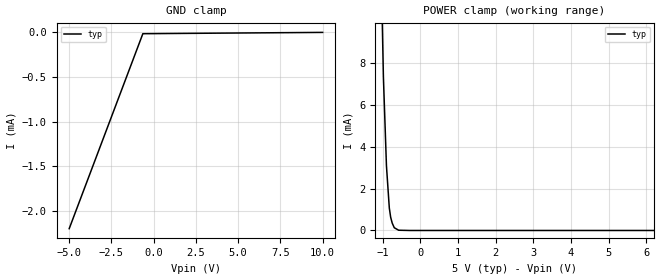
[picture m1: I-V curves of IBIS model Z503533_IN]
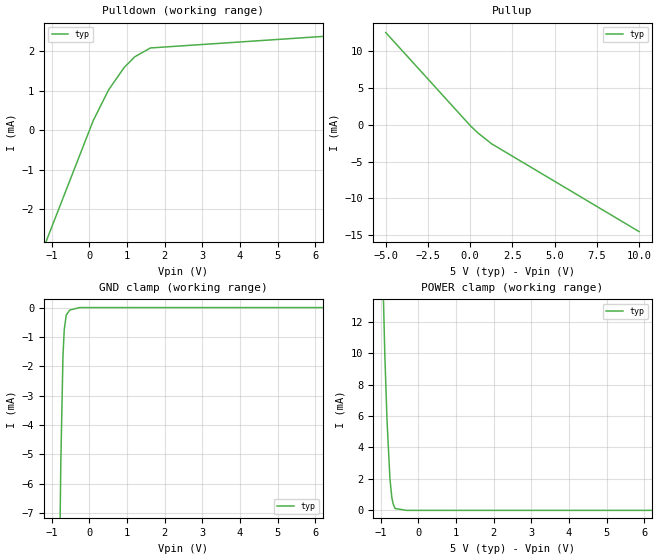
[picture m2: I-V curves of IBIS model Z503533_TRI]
| YOU ARE ONLY AUTHORIZED TO USE THIS SOFTWARE
| ACCORDING TO LICENSOR'S LICENSE RESTRICTIONS.
[IBIS Ver] 3.1
[File Name] mc14044bcl.ibs
[File Rev] 2.0
[Source] Measured and created by ICX Technology
[Date] Friday 7/14/00 9:07:52 AM
[Copyright]
| (C) COPYRIGHT 1993-2000
| MENTOR GRAPHICS CORPORATION
| ICX STANDARD LIBRARY, ICX PROJECT MODELING,
| ICX CUSTOM MODELING, ICX VENDOR MODEL
| ALL RIGHTS RESERVED.
| THE FOLLOWING ARE TRADEMARKS OR SERVICE MARKS OF
| MENTOR GRAPHICS CORPORATION:ICX (R), ICX STANDARD
| LIBRARY(R), ICX PROJECT MODELING(R), ICX CUSTOM
| MODELING(R), qualityIBIS(TM), MODELVIEWER(TM),
| AND MODELEDITOR(TM)
| ALL COPIES OF SOFTWARE, INCLUDING BUT NOT LIMITED TO
| ANY MODIFICATIONS, ENHANCEMENTS OR DERIVATIVE WORKS,
| MUST CONTAIN ALL MENTOR GRAPHICS CORPORATION'S
| NOTICES AND LEGENDS, INCLUDING THOSE EMBEDDED IN
| SOFTWARE AND THOSE AFFIXED TO SOFTWARE MEDIUM
| AND CONTAINER, AS RECEIVED FROM MENTOR GRAPHICS
| CORPORATION.
|  ZAP Model Builder 2.7
[Component] MC14044BCL
[Manufacturer] OnSemiconductor
[Package]
| variable   typ   min   max
R_pkg  .212ohms NA NA
L_pkg  4.758nH NA NA
C_pkg  1.944pF NA NA
[Pin] signal_name  model_name  R_pin  L_pin C_pin
1 Q3 Z503533_TRI .224 7.258n 2.683p
2 NC NC .216 5.258n 2.19p
3 _S0 Z503533_IN .208 3.758n 1.697p
4 _R Z503533_IN .2 2.758n 1.204p
5 E Z503533_IN .2 2.758n 1.204p
6 _R1 Z503533_IN .208 3.758n 1.697p
7 _S1 Z503533_IN .216 5.258n 2.19p
8 VSS GND .224 7.258n 2.683p
9 Q1 Z503533_TRI .224 7.258n 2.683p
10 Q2 Z503533_TRI .216 5.258n 2.19p
11 _S2 Z503533_IN .208 3.758n 1.697p
12 _R2 Z503533_IN .2 2.758n 1.204p
13 Q0 Z503533_TRI .2 2.758n 1.204p
14 _R Z503533_IN .208 3.758n 1.697p
15 _S2 Z503533_IN .216 5.258n 2.19p
16 VDD POWER .224 7.258n 2.683p
| Models and submodels in the file (2): Z503533_IN (Input), Z503533_TRI (3-state)
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| (C) COPYRIGHT 1993-2000
| MENTOR GRAPHICS CORPORATION
| ICX STANDARD LIBRARY, ICX PROJECT MODELING,
| ICX CUSTOM MODELING, ICX VENDOR MODEL
| ALL RIGHTS RESERVED.
| THE FOLLOWING ARE TRADEMARKS OR SERVICE MARKS OF
| MENTOR GRAPHICS CORPORATION:ICX (R), ICX STANDARD
| LIBRARY(R), ICX PROJECT MODELING(R), ICX CUSTOM
| MODELING(R), qualityIBIS(TM), MODELVIEWER(TM),
| AND MODELEDITOR(TM)
| ALL COPIES OF SOFTWARE, INCLUDING BUT NOT LIMITED TO
| ANY MODIFICATIONS, ENHANCEMENTS OR DERIVATIVE WORKS,
| MUST CONTAIN ALL MENTOR GRAPHICS CORPORATION'S
| NOTICES AND LEGENDS, INCLUDING THOSE EMBEDDED IN
| SOFTWARE AND THOSE AFFIXED TO SOFTWARE MEDIUM
| AND CONTAINER, AS RECEIVED FROM MENTOR GRAPHICS
| CORPORATION.
| Model Application Version 1.89 2/18/99.
[Model] Z503533_IN
Model_type Input
Vinl = 1.500V
Vinh = 3.500V
C_comp 4.000pF NA NA
| variable typ   min   max
[Voltage Range] 5.000V NA NA
[GND Clamp Reference] 0.000V NA NA
[POWER Clamp Reference] 5.000V NA NA
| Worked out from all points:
|   POWER clamp passes 1 mA (typ) near -0.81 V on its own axis
[GND Clamp]
-5V       -2.198mA   NA         NA
-640mV    -13.73uA   NA         NA
10V       860.8nA    NA         NA
[POWER Clamp]
-5V       361.4mA    NA         NA
-977mV    7.346mA    NA         NA
-896mV    3.095mA    NA         NA
-820mV    1.075mA    NA         NA
-784mV    631.4uA    NA         NA
-743mV    352.5uA    NA         NA
-688mV    131uA      NA         NA
-572mV    12.14uA    NA         NA
-286mV    0A         NA         NA
10V       0A         NA         NA
| (C) COPYRIGHT 1993-2000
| MENTOR GRAPHICS CORPORATION
| ICX STANDARD LIBRARY, ICX PROJECT MODELING,
| ICX CUSTOM MODELING, ICX VENDOR MODEL
| ALL RIGHTS RESERVED.
| THE FOLLOWING ARE TRADEMARKS OR SERVICE MARKS OF
| MENTOR GRAPHICS CORPORATION:ICX (R), ICX STANDARD
| LIBRARY(R), ICX PROJECT MODELING(R), ICX CUSTOM
| MODELING(R), qualityIBIS(TM), MODELVIEWER(TM),
| AND MODELEDITOR(TM)
| ALL COPIES OF SOFTWARE, INCLUDING BUT NOT LIMITED TO
| ANY MODIFICATIONS, ENHANCEMENTS OR DERIVATIVE WORKS,
| MUST CONTAIN ALL MENTOR GRAPHICS CORPORATION'S
| NOTICES AND LEGENDS, INCLUDING THOSE EMBEDDED IN
| SOFTWARE AND THOSE AFFIXED TO SOFTWARE MEDIUM
| AND CONTAINER, AS RECEIVED FROM MENTOR GRAPHICS
| CORPORATION.
| Model Application Version 1.89 2/18/99.
[Model] Z503533_TRI
Model_type 3-state
Vref=0.000V
Rref=500.0Mohms
Cref=50.00pF
Vmeas=2.500V
C_comp 8.000pF NA NA
| variable typ   min   max
[Voltage Range] 5.000V NA NA
[POWER Clamp Reference] 5.000V NA NA
[Pullup Reference] 5.000V NA NA
[Pulldown Reference] 0.000V NA NA
[GND Clamp Reference] 0.000V NA NA
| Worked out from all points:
|   slope of the pulldown table from 0 to 0.75 V, typ, clamps not added: 550 ohm
|   slope of the pullup table from 0 to 0.75 V, typ, clamps not added: 486 ohm
|   GND clamp passes 1 mA (typ) near -0.67 V on its own axis
|   POWER clamp passes 1 mA (typ) near -0.71 V on its own axis
[GND Clamp]
-5V       -475mA     NA         NA
-754.9mV  -5.317mA   NA         NA
-696.5mV  -1.616mA   NA         NA
-663mV    -750.2uA   NA         NA
-610mV    -252.1uA   NA         NA
-517.5mV  -86.87uA   NA         NA
-258.7mV  0A         NA         NA
10V       0A         NA         NA
[Pulldown]
-5V       -12.27mA   NA         NA
104.7mV   242.2uA    NA         NA
517mV     1.029mA    NA         NA
927.7mV   1.593mA    NA         NA
1.209V    1.864mA    NA         NA
1.624V    2.088mA    NA         NA
10V       2.623mA    NA         NA
[Pullup]
-5V       12.58mA    NA         NA
24mV      -147.8uA   NA         NA
454mV     -1.089mA   NA         NA
1.275V    -2.586mA   NA         NA
10V       -14.54mA   NA         NA
[POWER Clamp]
-5V       408.9mA    NA         NA
-888mV    9.917mA    NA         NA
-830mV    5.754mA    NA         NA
-752mV    2.008mA    NA         NA
-703mV    853.5uA    NA         NA
-669mV    425.7uA    NA         NA
-615mV    115.5uA    NA         NA
-307.5mV  0A         NA         NA
10V       0A         NA         NA
[Ramp]
| variable typ min max
dV/dt_r 2.528/14.22n NA NA
dV/dt_f 2.528/15.14n NA NA
R_load = 2.500kOhms
